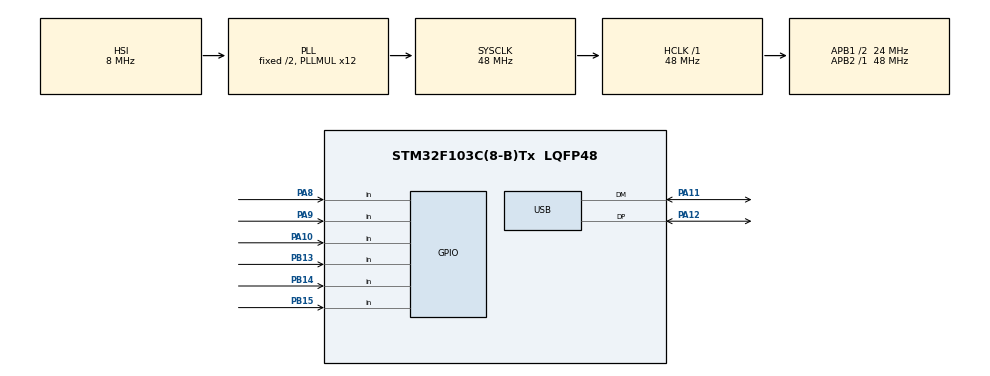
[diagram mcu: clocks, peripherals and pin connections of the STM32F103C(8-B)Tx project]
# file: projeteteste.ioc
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Mcu.Family=STM32F1
Mcu.Name=STM32F103C(8-B)Tx
Mcu.Package=LQFP48
NVIC.PriorityGroup=NVIC_PRIORITYGROUP_4
NVIC.USB_LP_CAN1_RX0_IRQn=true\:0\:0\:false\:false\:true\:false\:true
PA10.GPIO_PuPd=GPIO_PULLUP
PA10.Signal=GPIO_Input
PA11.Mode=Device
PA11.Signal=USB_DM
PA12.Mode=Device
PA12.Signal=USB_DP
PA13.Mode=Serial_Wire
PA13.Signal=SYS_JTMS-SWDIO
PA14.Mode=Serial_Wire
PA14.Signal=SYS_JTCK-SWCLK
PA8.GPIO_Mode=GPIO_MODE_INPUT
PA8.GPIO_PuPd=GPIO_PULLUP
PA8.Signal=GPIO_Input
PA9.GPIO_PuPd=GPIO_PULLUP
PA9.Signal=GPIO_Input
PB13.GPIO_PuPd=GPIO_PULLUP
PB13.Signal=GPIO_Input
PB14.GPIO_PuPd=GPIO_PULLUP
PB14.Signal=GPIO_Input
PB15.GPIO_PuPd=GPIO_PULLUP
PB15.Signal=GPIO_Input
ProjectManager.HeapSize=0x200
ProjectManager.StackSize=0x400
ProjectManager.TargetToolchain=STM32CubeIDE
RCC.AHBFreq_Value=48000000
RCC.APB1CLKDivider=RCC_HCLK_DIV2
RCC.APB1Freq_Value=24000000
RCC.APB1TimFreq_Value=48000000
RCC.APB2Freq_Value=48000000
RCC.APB2TimFreq_Value=48000000
RCC.HCLKFreq_Value=48000000
RCC.PLLMUL=RCC_PLL_MUL12
RCC.PLLSource=RCC_PLLSOURCE_HSI_DIV2
RCC.PLLSourceVirtual=RCC_PLLSOURCE_HSI_DIV2
RCC.SYSCLKFreq_VALUE=48000000
RCC.SYSCLKSource=RCC_SYSCLKSOURCE_PLLCLK
RCC.USBFreq_Value=48000000
USB_DEVICE.CLASS_NAME_FS=HID
USB_DEVICE.PRODUCT_STRING_HID_FS=\ Knowledge hub Keyboard
USB_DEVICE.VirtualMode=Hid
USB_DEVICE.VirtualModeFS=Hid_FS
VP_USB_DEVICE_VS_USB_DEVICE_HID_FS.Mode=HID_FS
board=custom

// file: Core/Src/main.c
/* USER CODE BEGIN Header */
/**
  ******************************************************************************
  * @file           : main.c
  * @brief          : Main program body
  ******************************************************************************
  * @attention
  *
  * <h2><center>&copy; Copyright (c) 2024 STMicroelectronics.
  * All rights reserved.</center></h2>
  *
  * This software component is licensed by ST under BSD 3-Clause license,
  * the "License"; You may not use this file except in compliance with the
  * License. You may obtain a copy of the License at:
  *                        opensource.org/licenses/BSD-3-Clause
  *
  ******************************************************************************
  */
/* USER CODE END Header */
#include "main.h"
#include "usb_device.h"

/* USER CODE BEGIN Includes */
#include "usbd_hid.h"
/* USER CODE END Includes */

/* USER CODE BEGIN PD */
#define BOTAOA (HAL_GPIO_ReadPin(GPIOA, GPIO_PIN_8)==0)
#define BOTAOD (HAL_GPIO_ReadPin(GPIOA, GPIO_PIN_9)==0)
#define BOTAOS (HAL_GPIO_ReadPin(GPIOA, GPIO_PIN_10)==0)
#define BOTAOW (HAL_GPIO_ReadPin(GPIOB, GPIO_PIN_15)==0)
#define BOTAOE (HAL_GPIO_ReadPin(GPIOB, GPIO_PIN_14)==0)
#define BOTAOQ (HAL_GPIO_ReadPin(GPIOB, GPIO_PIN_13)==0)

/* USER CODE END PD */

/* USER CODE BEGIN PV */
extern USBD_HandleTypeDef hUsbDeviceFS;

typedef struct {
	uint8_t MODIFIER;
	uint8_t RESERVED;
	uint8_t KEYCODE1;
	uint8_t KEYCODE2;
	uint8_t KEYCODE3;
	uint8_t KEYCODE4;
	uint8_t KEYCODE5;
	uint8_t KEYCODE6;
}keyboardReportDes;

keyboardReportDes HIDkeyBoard={0,0,0,0,0,0,0,0};

/* USER CODE END PV */

void SystemClock_Config(void);
static void MX_GPIO_Init(void);

int main(void)
{

  /* MCU Configuration--------------------------------------------------------*/

  /* Reset of all peripherals, Initializes the Flash interface and the Systick. */
  HAL_Init();

  /* Configure the system clock */
  SystemClock_Config();

  /* Initialize all configured peripherals */
  MX_GPIO_Init();
  MX_USB_DEVICE_Init();

  /* Infinite loop */
  while (1)
  {

    /* USER CODE BEGIN 3 */
	  if(BOTAOA)
	  {
		  HIDkeyBoard.MODIFIER = 0x02; // Print char in Capital
		  HIDkeyBoard.KEYCODE1 = 0x04; // Print 'A'
		  HAL_Delay(50);
		  USBD_HID_SendReport(&hUsbDeviceFS, &HIDkeyBoard, sizeof(HIDkeyBoard));
		  HIDkeyBoard.MODIFIER = 0x00;// Release Shift
		  HIDkeyBoard.KEYCODE1 = 0x00;// Release Key
	  }

	  if(BOTAOD)
	  {
		  HIDkeyBoard.MODIFIER = 0x02; // Print char in Capital
		  HIDkeyBoard.KEYCODE1 = 0x07; // Print 'D'
		  HAL_Delay(50);
		  USBD_HID_SendReport(&hUsbDeviceFS, &HIDkeyBoard, sizeof(HIDkeyBoard));
		  HIDkeyBoard.MODIFIER = 0x00;// Release Shift
		  HIDkeyBoard.KEYCODE1 = 0x00;// Release Key
	  }

	  if(BOTAOS)
	  {
		  HIDkeyBoard.MODIFIER = 0x02; // Print char in Capital
		  HIDkeyBoard.KEYCODE1 = 0x16; // Print 'S'
		  HAL_Delay(50);
		  USBD_HID_SendReport(&hUsbDeviceFS, &HIDkeyBoard, sizeof(HIDkeyBoard));
		  HIDkeyBoard.MODIFIER = 0x00;// Release Shift
		  HIDkeyBoard.KEYCODE1 = 0x00;// Release Key
	  }

	  if(BOTAOW)
	  {
		  HIDkeyBoard.MODIFIER = 0x02; // Print char in Capital
		  HIDkeyBoard.KEYCODE1 = 0x1A; // Print 'W'
		  HAL_Delay(50);
		  USBD_HID_SendReport(&hUsbDeviceFS, &HIDkeyBoard, sizeof(HIDkeyBoard));
		  HIDkeyBoard.MODIFIER = 0x00;// Release Shift
		  HIDkeyBoard.KEYCODE1 = 0x00;// Release Key
	  }

	  if(BOTAOE)
	  {
		  HIDkeyBoard.MODIFIER = 0x02; // Print char in Capital
		  HIDkeyBoard.KEYCODE1 = 0x08; // Print 'E'
		  HAL_Delay(50);
		  USBD_HID_SendReport(&hUsbDeviceFS, &HIDkeyBoard, sizeof(HIDkeyBoard));
		  HIDkeyBoard.MODIFIER = 0x00;// Release Shift
		  HIDkeyBoard.KEYCODE1 = 0x00;// Release Key
	  }
	  if(BOTAOQ)
	  {
		  HIDkeyBoard.MODIFIER = 0x02; // Print char in Capital
		  HIDkeyBoard.KEYCODE1 = 0x14; // Print 'Q'
		  HAL_Delay(50);
		  USBD_HID_SendReport(&hUsbDeviceFS, &HIDkeyBoard, sizeof(HIDkeyBoard));
		  HIDkeyBoard.MODIFIER = 0x00;// Release Shift
		  HIDkeyBoard.KEYCODE1 = 0x00;// Release Key
	  }

		/*
		HIDkeyBoard.MODIFIER = 0x02; // Print char in Capital
		HIDkeyBoard.KEYCODE1 = 0x04; // Print 'A'
		HIDkeyBoard.KEYCODE2 = 0x05; // Print 'B'
		HIDkeyBoard.KEYCODE3 = 0x06; // Print 'C'
		USBD_HID_SendReport(&hUsbDeviceFS, &HIDkeyBoard, sizeof(HIDkeyBoard));
		HAL_Delay(50);
		HIDkeyBoard.MODIFIER = 0x00; // Release Shift
		HIDkeyBoard.KEYCODE1 = 0x00;
		HIDkeyBoard.MODIFIER = 0x00; // Release Shift
		HIDkeyBoard.KEYCODE1 = 0x00; // Release Key
		HIDkeyBoard.

		*/
//
  }
  /* USER CODE END 3 */
}

void SystemClock_Config(void)
{
  RCC_OscInitTypeDef RCC_OscInitStruct = {0};
  RCC_ClkInitTypeDef RCC_ClkInitStruct = {0};
  RCC_PeriphCLKInitTypeDef PeriphClkInit = {0};

  /** Initializes the RCC Oscillators according to the specified parameters
  * in the RCC_OscInitTypeDef structure.
  */
  RCC_OscInitStruct.OscillatorType = RCC_OSCILLATORTYPE_HSI;
  RCC_OscInitStruct.HSIState = RCC_HSI_ON;
  RCC_OscInitStruct.HSICalibrationValue = RCC_HSICALIBRATION_DEFAULT;
  RCC_OscInitStruct.PLL.PLLState = RCC_PLL_ON;
  RCC_OscInitStruct.PLL.PLLSource = RCC_PLLSOURCE_HSI_DIV2;
  RCC_OscInitStruct.PLL.PLLMUL = RCC_PLL_MUL12;
  if (HAL_RCC_OscConfig(&RCC_OscInitStruct) != HAL_OK)
  {
    Error_Handler();
  }
  /** Initializes the CPU, AHB and APB buses clocks
  */
  RCC_ClkInitStruct.ClockType = RCC_CLOCKTYPE_HCLK|RCC_CLOCKTYPE_SYSCLK
                              |RCC_CLOCKTYPE_PCLK1|RCC_CLOCKTYPE_PCLK2;
  RCC_ClkInitStruct.SYSCLKSource = RCC_SYSCLKSOURCE_PLLCLK;
  RCC_ClkInitStruct.AHBCLKDivider = RCC_SYSCLK_DIV1;
  RCC_ClkInitStruct.APB1CLKDivider = RCC_HCLK_DIV2;
  RCC_ClkInitStruct.APB2CLKDivider = RCC_HCLK_DIV1;

  if (HAL_RCC_ClockConfig(&RCC_ClkInitStruct, FLASH_LATENCY_1) != HAL_OK)
  {
    Error_Handler();
  }
  PeriphClkInit.PeriphClockSelection = RCC_PERIPHCLK_USB;
  PeriphClkInit.UsbClockSelection = RCC_USBCLKSOURCE_PLL;
  if (HAL_RCCEx_PeriphCLKConfig(&PeriphClkInit) != HAL_OK)
  {
    Error_Handler();
  }
}

static void MX_GPIO_Init(void)
{
  GPIO_InitTypeDef GPIO_InitStruct = {0};

  /* GPIO Ports Clock Enable */
  __HAL_RCC_GPIOB_CLK_ENABLE();
  __HAL_RCC_GPIOA_CLK_ENABLE();

  /*Configure GPIO pins : PB13 PB14 PB15 */
  GPIO_InitStruct.Pin = GPIO_PIN_13|GPIO_PIN_14|GPIO_PIN_15;
  GPIO_InitStruct.Mode = GPIO_MODE_INPUT;
  GPIO_InitStruct.Pull = GPIO_PULLUP;
  HAL_GPIO_Init(GPIOB, &GPIO_InitStruct);

  /*Configure GPIO pins : PA8 PA9 PA10 */
  GPIO_InitStruct.Pin = GPIO_PIN_8|GPIO_PIN_9|GPIO_PIN_10;
  GPIO_InitStruct.Mode = GPIO_MODE_INPUT;
  GPIO_InitStruct.Pull = GPIO_PULLUP;
  HAL_GPIO_Init(GPIOA, &GPIO_InitStruct);

}

void Error_Handler(void)
{
  __disable_irq();
  while (1)
  {
  }
}

/************************ (C) COPYRIGHT STMicroelectronics *****END OF FILE****/
